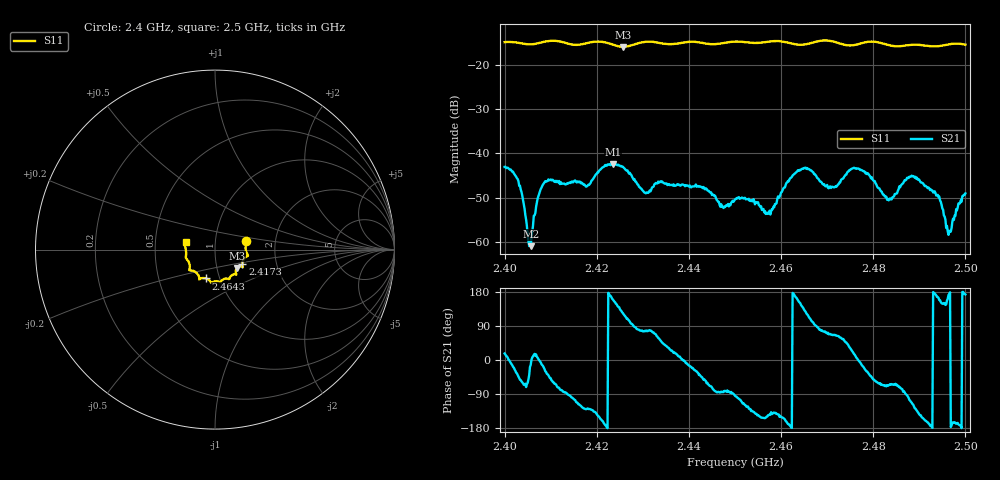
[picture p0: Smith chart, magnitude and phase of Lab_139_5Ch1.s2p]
# Hz S RI R 50
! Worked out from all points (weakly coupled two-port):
!   601 points, 2.4 GHz to 2.5 GHz, reference 50 ohm
!   highest |S21| = -42.44 dB at 2.4235 GHz (marker M1); lowest = -61.0 dB at 2.4057 GHz (marker M2)
!   lowest |S11| = -15.9 dB at 2.4257 GHz (marker M3), VSWR 1.38, Z = 62.4 - j13.1 ohm
!   |S11| at or under -10 dB: start of sweep to end of sweep
!   S12 and S22 are empty: the file has one direction only
!   S11 on the Smith chart (normalised r, x): 2.4 GHz: 1.41, +0.15; 2.4173 GHz: 1.34, -0.23; 2.4643 GHz: 0.86, -0.28; 2.5 GHz: 0.72, +0.06
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2.4e9  0.1733 0.0497  0.00672 0.00207  0 0  0 0
2.403e9  0.1737 0.0348  0.00351 -0.00334  0 0  0 0
2.405667e9  0.1702 0.00519  0.000874 -0.000194  0 0  0 0
2.407333e9  0.1749 -0.0143  0.00329 0.000134  0 0  0 0
2.408667e9  0.1806 -0.0263  0.0043 -0.00193  0 0  0 0
2.416667e9  0.1528 -0.0745  -0.00254 -0.00394  0 0  0 0
2.417333e9  0.1524 -0.0819  -0.00275 -0.00348  0 0  0 0
2.4235e9  0.1408 -0.0937  -0.00707 0.00265  0 0  0 0
2.425667e9  0.1225 -0.1022  -0.00392 0.00588  0 0  0 0
2.4305e9  0.119 -0.1372  0.000787 0.0035  0 0  0 0
2.433333e9  0.1129 -0.1369  0.00254 0.00408  0 0  0 0
2.45e9  0.0294 -0.1808  -0.000231 -0.003  0 0  0 0
2.457167e9  -0.0148 -0.1816  -0.00177 -0.0012  0 0  0 0
2.464333e9  -0.0504 -0.1604  -0.00538 0.00376  0 0  0 0
2.466667e9  -0.0763 -0.1596  -0.00132 0.00618  0 0  0 0
2.470667e9  -0.0871 -0.1647  0.00155 0.00394  0 0  0 0
2.477e9  -0.1268 -0.1168  0.00663 -0.00049  0 0  0 0
2.483333e9  -0.1408 -0.0894  0.00118 -0.0027  0 0  0 0
2.489e9  -0.1622 -0.0463  -0.00321 -0.00424  0 0  0 0
2.493833e9  -0.1617 -0.00338  -0.00325 0.000777  0 0  0 0
2.4965e9  -0.1688 0.0235  -0.00132 0.000172  0 0  0 0
2.5e9  -0.1634 0.0421  -0.0035 0.000429  0 0  0 0
